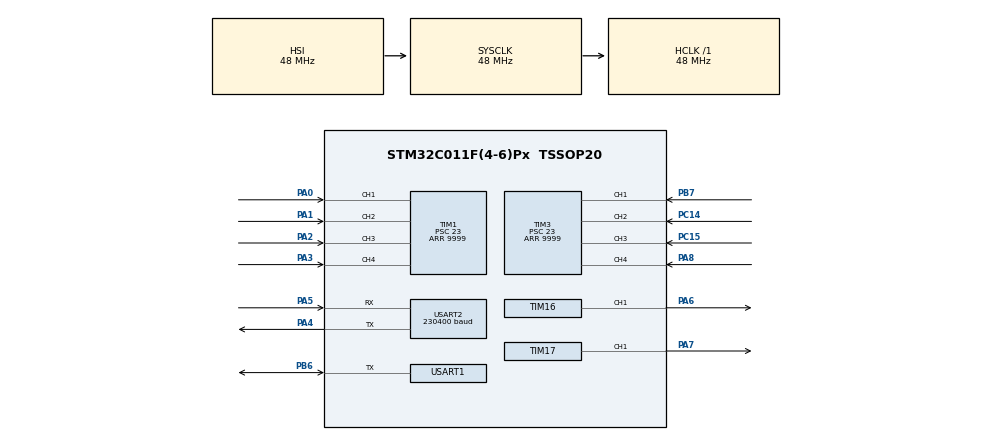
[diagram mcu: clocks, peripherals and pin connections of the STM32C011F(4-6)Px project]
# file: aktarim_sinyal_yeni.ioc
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Mcu.Family=STM32C0
Mcu.Name=STM32C011F(4-6)Px
Mcu.Package=TSSOP20
NVIC.TIM1_BRK_UP_TRG_COM_IRQn=true\:0\:0\:false\:false\:true\:true\:true\:true
NVIC.TIM1_CC_IRQn=true\:0\:0\:false\:false\:true\:true\:true\:true
NVIC.TIM3_IRQn=true\:0\:0\:false\:false\:true\:true\:true\:true
NVIC.USART1_IRQn=true\:0\:0\:false\:false\:true\:true\:true\:true
NVIC.USART2_IRQn=true\:0\:0\:false\:false\:true\:true\:true\:true
PA0.Signal=S_TIM1_CH1
PA1.Signal=S_TIM1_CH2
PA2.Signal=S_TIM1_CH3
PA3.Signal=S_TIM1_CH4
PA4.Mode=Asynchronous
PA4.Signal=USART2_TX
PA5.Mode=Asynchronous
PA5.Signal=USART2_RX
PA6.Signal=S_TIM16_CH1
PA7.Signal=S_TIM17_CH1
PA8.Signal=S_TIM3_CH4
PB6.Mode=Half_duplex(single_wire_mode)
PB6.Signal=USART1_TX
PB7.Signal=S_TIM3_CH1
PC14-OSCX_IN\ (PC14).Signal=S_TIM3_CH2
PC15-OSCX_OUT\ (PC15).Signal=S_TIM3_CH3
ProjectManager.HeapSize=0x200
ProjectManager.StackSize=0x400
ProjectManager.TargetToolchain=STM32CubeIDE
RCC.ADCFreq_Value=48000000
RCC.AHBFreq_Value=48000000
RCC.CortexFreq_Value=48000000
RCC.EXTERNAL_CLOCK_VALUE=12288000
RCC.HCLKFreq_Value=48000000
RCC.HSE_VALUE=8000000
RCC.HSISYSCLKDivider=RCC_HSI_DIV1
RCC.HSI_VALUE=48000000
RCC.LSE_VALUE=32768
RCC.SYSCLKFreq_VALUE=48000000
SH.S_TIM16_CH1.0=TIM16_CH1,PWM Generation1 CH1
SH.S_TIM17_CH1.0=TIM17_CH1,PWM Generation1 CH1
SH.S_TIM1_CH1.0=TIM1_CH1,Input_Capture1_from_TI1
SH.S_TIM1_CH2.0=TIM1_CH2,Input_Capture2_from_TI2
SH.S_TIM1_CH3.0=TIM1_CH3,Input_Capture3_from_TI3
SH.S_TIM1_CH4.0=TIM1_CH4,Input_Capture4_from_TI4
SH.S_TIM3_CH1.0=TIM3_CH1,Input_Capture1_from_TI1
SH.S_TIM3_CH2.0=TIM3_CH2,Input_Capture2_from_TI2
SH.S_TIM3_CH3.0=TIM3_CH3,Input_Capture3_from_TI3
SH.S_TIM3_CH4.0=TIM3_CH4,Input_Capture4_from_TI4
TIM1.AutoReloadPreload=TIM_AUTORELOAD_PRELOAD_ENABLE
TIM1.Channel-Input_Capture1_from_TI1=TIM_CHANNEL_1
TIM1.Channel-Input_Capture2_from_TI2=TIM_CHANNEL_2
TIM1.Channel-Input_Capture3_from_TI3=TIM_CHANNEL_3
TIM1.Channel-Input_Capture4_from_TI4=TIM_CHANNEL_4
TIM1.ICPolarity_CH1=TIM_INPUTCHANNELPOLARITY_BOTHEDGE
TIM1.ICPolarity_CH2=TIM_INPUTCHANNELPOLARITY_BOTHEDGE
TIM1.ICPolarity_CH3=TIM_INPUTCHANNELPOLARITY_BOTHEDGE
TIM1.ICPolarity_CH4=TIM_INPUTCHANNELPOLARITY_BOTHEDGE
TIM1.Period=9999
TIM1.Prescaler=23
TIM16.AutoReloadPreload=TIM_AUTORELOAD_PRELOAD_ENABLE
TIM16.Channel=TIM_CHANNEL_1
TIM16.Period=4095
TIM17.AutoReloadPreload=TIM_AUTORELOAD_PRELOAD_ENABLE
TIM17.Channel=TIM_CHANNEL_1
TIM17.Period=4095
TIM3.AutoReloadPreload=TIM_AUTORELOAD_PRELOAD_ENABLE
TIM3.Channel-Input_Capture1_from_TI1=TIM_CHANNEL_1
TIM3.Channel-Input_Capture2_from_TI2=TIM_CHANNEL_2
TIM3.Channel-Input_Capture3_from_TI3=TIM_CHANNEL_3
TIM3.Channel-Input_Capture4_from_TI4=TIM_CHANNEL_4
TIM3.ICPolarity_CH1=TIM_INPUTCHANNELPOLARITY_BOTHEDGE
TIM3.ICPolarity_CH2=TIM_INPUTCHANNELPOLARITY_BOTHEDGE
TIM3.ICPolarity_CH3=TIM_INPUTCHANNELPOLARITY_BOTHEDGE
TIM3.ICPolarity_CH4=TIM_INPUTCHANNELPOLARITY_BOTHEDGE
TIM3.Period=9999
TIM3.Prescaler=23
USART1.BaudRate=57600
USART1.VirtualMode-Half_duplex(single_wire_mode)=VM_ASYNC
USART2.BaudRate=230400
USART2.VirtualMode-Asynchronous=VM_ASYNC
VP_TIM16_VS_ClockSourceINT.Mode=Enable_Timer
VP_TIM17_VS_ClockSourceINT.Mode=Enable_Timer
board=custom

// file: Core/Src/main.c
/* USER CODE BEGIN Header */
/**
  ******************************************************************************
  * @file           : main.c
  * @brief          : Main program body
  ******************************************************************************
  * @attention
  *
  * Copyright (c) 2024 STMicroelectronics.
  * All rights reserved.
  *
  * This software is licensed under terms that can be found in the LICENSE file
  * in the root directory of this software component.
  * If no LICENSE file comes with this software, it is provided AS-IS.
  *
  ******************************************************************************
  */
/* USER CODE END Header */
#include "main.h"

TIM_HandleTypeDef htim1;
TIM_HandleTypeDef htim3;
TIM_HandleTypeDef htim16;
TIM_HandleTypeDef htim17;

UART_HandleTypeDef huart1;
UART_HandleTypeDef huart2;

/* USER CODE BEGIN PV */
uint16_t pwm_vals[8] = {3000,3000,3000,3000,3000,3000,3000,3000};
uint32_t last_ticks[8];
uint8_t uart_incoming;
uint8_t msg[8];
uint16_t adc_vals[2];
uint8_t uart_tx_buffer[26];
uint16_t n[8];          /*çift  y*/
uint16_t u[8];          /*tek   x*/
uint8_t s[8]={0,0,0,0,0,0,0,0};
uint8_t uart_mode = 1;
/* USER CODE END PV */

void SystemClock_Config(void);
static void MX_GPIO_Init(void);
static void MX_TIM1_Init(void);
static void MX_TIM3_Init(void);
static void MX_TIM16_Init(void);
static void MX_TIM17_Init(void);
static void MX_USART1_UART_Init(void);
static void MX_USART2_UART_Init(void);

int main(void)
{

  /* MCU Configuration--------------------------------------------------------*/

  /* Reset of all peripherals, Initializes the Flash interface and the Systick. */
  HAL_Init();

  /* Configure the system clock */
  SystemClock_Config();

  /* Initialize all configured peripherals */
  MX_GPIO_Init();
  MX_TIM1_Init();
  MX_TIM3_Init();
  MX_TIM16_Init();
  MX_TIM17_Init();
  MX_USART1_UART_Init();
  MX_USART2_UART_Init();
  /* USER CODE BEGIN 2 */
  HAL_TIM_IC_Start_IT(&htim1, TIM_CHANNEL_1);
  HAL_TIM_IC_Start_IT(&htim1, TIM_CHANNEL_2);
  HAL_TIM_IC_Start_IT(&htim1, TIM_CHANNEL_3);
  HAL_TIM_IC_Start_IT(&htim1, TIM_CHANNEL_4);
  HAL_TIM_IC_Start_IT(&htim3, TIM_CHANNEL_1);
  HAL_TIM_IC_Start_IT(&htim3, TIM_CHANNEL_2);
  HAL_TIM_IC_Start_IT(&htim3, TIM_CHANNEL_3);
  HAL_TIM_IC_Start_IT(&htim3, TIM_CHANNEL_4);

  HAL_TIM_PWM_Start(&htim16, TIM_CHANNEL_1);
  HAL_TIM_PWM_Start(&htim17, TIM_CHANNEL_1);
  TIM16 -> CCR1 = 0;
  TIM17 -> CCR1 = 0;

  HAL_HalfDuplex_EnableTransmitter(&huart1);
  /* USER CODE END 2 */

  /* Infinite loop */
  /* USER CODE BEGIN WHILE */
  uint8_t i;
  uint8_t signal_count = 0;
  uint8_t hash = '#';
  uint32_t timeout_tick;
  while (1)
  {
    uart_tx_buffer[0] = '{';
    for(i=0; i<8; i++){
      pwm_vals[i] %= 4096;
      if(HAL_GetTick() > last_ticks[i]+1000){
        pwm_vals[i] = 3000;
      }
      itoa(pwm_vals[i], &uart_tx_buffer[3*i+1], 16);
    }
    uart_tx_buffer[25] = '}';
    if(signal_count >= 5){
      HAL_UART_Transmit(&huart1, &hash, 1, 5);
      HAL_HalfDuplex_EnableReceiver(&huart1);
      HAL_UART_Receive_IT(&huart1, &uart_incoming, 1);
      uart_mode=0;
      timeout_tick = HAL_GetTick() + 25;
      signal_count=0;
      continue;
    }
    //sprintf(uart_tx_buffer, "{%03x%03x%03x%03x%03x%03x%03x%03x}", pwm_vals[0], pwm_vals[1], pwm_vals[2], pwm_vals[3], pwm_vals[4], pwm_vals[5], pwm_vals[6], pwm_vals[7]);

    //while(HAL_UART_GetState(&huart1) != HAL_UART_STATE_READY);
    if(HAL_GetTick() > timeout_tick){
      uart_mode = 1;
      HAL_HalfDuplex_EnableTransmitter(&huart1);
    }
    if(uart_mode){
      HAL_UART_Transmit(&huart1, uart_tx_buffer, 26, 30);
      signal_count++;
    }
    /* USER CODE END WHILE */

  }
}

void SystemClock_Config(void)
{
  RCC_OscInitTypeDef RCC_OscInitStruct = {0};
  RCC_ClkInitTypeDef RCC_ClkInitStruct = {0};

  /** Initializes the RCC Oscillators according to the specified parameters
  * in the RCC_OscInitTypeDef structure.
  */
  RCC_OscInitStruct.OscillatorType = RCC_OSCILLATORTYPE_HSI;
  RCC_OscInitStruct.HSIState = RCC_HSI_ON;
  RCC_OscInitStruct.HSIDiv = RCC_HSI_DIV1;
  RCC_OscInitStruct.HSICalibrationValue = RCC_HSICALIBRATION_DEFAULT;
  if (HAL_RCC_OscConfig(&RCC_OscInitStruct) != HAL_OK)
  {
    Error_Handler();
  }

  /** Initializes the CPU, AHB and APB buses clocks
  */
  RCC_ClkInitStruct.ClockType = RCC_CLOCKTYPE_HCLK|RCC_CLOCKTYPE_SYSCLK
                              |RCC_CLOCKTYPE_PCLK1;
  RCC_ClkInitStruct.SYSCLKSource = RCC_SYSCLKSOURCE_HSI;
  RCC_ClkInitStruct.SYSCLKDivider = RCC_SYSCLK_DIV1;
  RCC_ClkInitStruct.AHBCLKDivider = RCC_HCLK_DIV1;
  RCC_ClkInitStruct.APB1CLKDivider = RCC_APB1_DIV1;

  if (HAL_RCC_ClockConfig(&RCC_ClkInitStruct, FLASH_LATENCY_1) != HAL_OK)
  {
    Error_Handler();
  }
}

static void MX_TIM1_Init(void)
{

  TIM_MasterConfigTypeDef sMasterConfig = {0};
  TIM_IC_InitTypeDef sConfigIC = {0};

  htim1.Instance = TIM1;
  htim1.Init.Prescaler = 23;
  htim1.Init.CounterMode = TIM_COUNTERMODE_UP;
  htim1.Init.Period = 9999;
  htim1.Init.ClockDivision = TIM_CLOCKDIVISION_DIV1;
  htim1.Init.RepetitionCounter = 0;
  htim1.Init.AutoReloadPreload = TIM_AUTORELOAD_PRELOAD_ENABLE;
  if (HAL_TIM_IC_Init(&htim1) != HAL_OK)
  {
    Error_Handler();
  }
  sMasterConfig.MasterOutputTrigger = TIM_TRGO_RESET;
  sMasterConfig.MasterOutputTrigger2 = TIM_TRGO2_RESET;
  sMasterConfig.MasterSlaveMode = TIM_MASTERSLAVEMODE_DISABLE;
  if (HAL_TIMEx_MasterConfigSynchronization(&htim1, &sMasterConfig) != HAL_OK)
  {
    Error_Handler();
  }
  sConfigIC.ICPolarity = TIM_INPUTCHANNELPOLARITY_BOTHEDGE;
  sConfigIC.ICSelection = TIM_ICSELECTION_DIRECTTI;
  sConfigIC.ICPrescaler = TIM_ICPSC_DIV1;
  sConfigIC.ICFilter = 0;
  if (HAL_TIM_IC_ConfigChannel(&htim1, &sConfigIC, TIM_CHANNEL_1) != HAL_OK)
  {
    Error_Handler();
  }
  if (HAL_TIM_IC_ConfigChannel(&htim1, &sConfigIC, TIM_CHANNEL_2) != HAL_OK)
  {
    Error_Handler();
  }
  if (HAL_TIM_IC_ConfigChannel(&htim1, &sConfigIC, TIM_CHANNEL_3) != HAL_OK)
  {
    Error_Handler();
  }
  if (HAL_TIM_IC_ConfigChannel(&htim1, &sConfigIC, TIM_CHANNEL_4) != HAL_OK)
  {
    Error_Handler();
  }

}

static void MX_TIM3_Init(void)
{

  TIM_MasterConfigTypeDef sMasterConfig = {0};
  TIM_IC_InitTypeDef sConfigIC = {0};

  htim3.Instance = TIM3;
  htim3.Init.Prescaler = 23;
  htim3.Init.CounterMode = TIM_COUNTERMODE_UP;
  htim3.Init.Period = 9999;
  htim3.Init.ClockDivision = TIM_CLOCKDIVISION_DIV1;
  htim3.Init.AutoReloadPreload = TIM_AUTORELOAD_PRELOAD_ENABLE;
  if (HAL_TIM_IC_Init(&htim3) != HAL_OK)
  {
    Error_Handler();
  }
  sMasterConfig.MasterOutputTrigger = TIM_TRGO_RESET;
  sMasterConfig.MasterSlaveMode = TIM_MASTERSLAVEMODE_DISABLE;
  if (HAL_TIMEx_MasterConfigSynchronization(&htim3, &sMasterConfig) != HAL_OK)
  {
    Error_Handler();
  }
  sConfigIC.ICPolarity = TIM_INPUTCHANNELPOLARITY_BOTHEDGE;
  sConfigIC.ICSelection = TIM_ICSELECTION_DIRECTTI;
  sConfigIC.ICPrescaler = TIM_ICPSC_DIV1;
  sConfigIC.ICFilter = 0;
  if (HAL_TIM_IC_ConfigChannel(&htim3, &sConfigIC, TIM_CHANNEL_1) != HAL_OK)
  {
    Error_Handler();
  }
  if (HAL_TIM_IC_ConfigChannel(&htim3, &sConfigIC, TIM_CHANNEL_2) != HAL_OK)
  {
    Error_Handler();
  }
  if (HAL_TIM_IC_ConfigChannel(&htim3, &sConfigIC, TIM_CHANNEL_3) != HAL_OK)
  {
    Error_Handler();
  }
  if (HAL_TIM_IC_ConfigChannel(&htim3, &sConfigIC, TIM_CHANNEL_4) != HAL_OK)
  {
    Error_Handler();
  }

}

static void MX_TIM16_Init(void)
{

  TIM_OC_InitTypeDef sConfigOC = {0};
  TIM_BreakDeadTimeConfigTypeDef sBreakDeadTimeConfig = {0};

  htim16.Instance = TIM16;
  htim16.Init.Prescaler = 0;
  htim16.Init.CounterMode = TIM_COUNTERMODE_UP;
  htim16.Init.Period = 4095;
  htim16.Init.ClockDivision = TIM_CLOCKDIVISION_DIV1;
  htim16.Init.RepetitionCounter = 0;
  htim16.Init.AutoReloadPreload = TIM_AUTORELOAD_PRELOAD_ENABLE;
  if (HAL_TIM_Base_Init(&htim16) != HAL_OK)
  {
    Error_Handler();
  }
  if (HAL_TIM_PWM_Init(&htim16) != HAL_OK)
  {
    Error_Handler();
  }
  sConfigOC.OCMode = TIM_OCMODE_PWM1;
  sConfigOC.Pulse = 0;
  sConfigOC.OCPolarity = TIM_OCPOLARITY_HIGH;
  sConfigOC.OCNPolarity = TIM_OCNPOLARITY_HIGH;
  sConfigOC.OCFastMode = TIM_OCFAST_DISABLE;
  sConfigOC.OCIdleState = TIM_OCIDLESTATE_RESET;
  sConfigOC.OCNIdleState = TIM_OCNIDLESTATE_RESET;
  if (HAL_TIM_PWM_ConfigChannel(&htim16, &sConfigOC, TIM_CHANNEL_1) != HAL_OK)
  {
    Error_Handler();
  }
  sBreakDeadTimeConfig.OffStateRunMode = TIM_OSSR_DISABLE;
  sBreakDeadTimeConfig.OffStateIDLEMode = TIM_OSSI_DISABLE;
  sBreakDeadTimeConfig.LockLevel = TIM_LOCKLEVEL_OFF;
  sBreakDeadTimeConfig.DeadTime = 0;
  sBreakDeadTimeConfig.BreakState = TIM_BREAK_DISABLE;
  sBreakDeadTimeConfig.BreakPolarity = TIM_BREAKPOLARITY_HIGH;
  sBreakDeadTimeConfig.BreakFilter = 0;
  sBreakDeadTimeConfig.AutomaticOutput = TIM_AUTOMATICOUTPUT_DISABLE;
  if (HAL_TIMEx_ConfigBreakDeadTime(&htim16, &sBreakDeadTimeConfig) != HAL_OK)
  {
    Error_Handler();
  }
  HAL_TIM_MspPostInit(&htim16);

}

static void MX_TIM17_Init(void)
{

  TIM_OC_InitTypeDef sConfigOC = {0};
  TIM_BreakDeadTimeConfigTypeDef sBreakDeadTimeConfig = {0};

  htim17.Instance = TIM17;
  htim17.Init.Prescaler = 0;
  htim17.Init.CounterMode = TIM_COUNTERMODE_UP;
  htim17.Init.Period = 4095;
  htim17.Init.ClockDivision = TIM_CLOCKDIVISION_DIV1;
  htim17.Init.RepetitionCounter = 0;
  htim17.Init.AutoReloadPreload = TIM_AUTORELOAD_PRELOAD_ENABLE;
  if (HAL_TIM_Base_Init(&htim17) != HAL_OK)
  {
    Error_Handler();
  }
  if (HAL_TIM_PWM_Init(&htim17) != HAL_OK)
  {
    Error_Handler();
  }
  sConfigOC.OCMode = TIM_OCMODE_PWM1;
  sConfigOC.Pulse = 0;
  sConfigOC.OCPolarity = TIM_OCPOLARITY_HIGH;
  sConfigOC.OCNPolarity = TIM_OCNPOLARITY_HIGH;
  sConfigOC.OCFastMode = TIM_OCFAST_DISABLE;
  sConfigOC.OCIdleState = TIM_OCIDLESTATE_RESET;
  sConfigOC.OCNIdleState = TIM_OCNIDLESTATE_RESET;
  if (HAL_TIM_PWM_ConfigChannel(&htim17, &sConfigOC, TIM_CHANNEL_1) != HAL_OK)
  {
    Error_Handler();
  }
  sBreakDeadTimeConfig.OffStateRunMode = TIM_OSSR_DISABLE;
  sBreakDeadTimeConfig.OffStateIDLEMode = TIM_OSSI_DISABLE;
  sBreakDeadTimeConfig.LockLevel = TIM_LOCKLEVEL_OFF;
  sBreakDeadTimeConfig.DeadTime = 0;
  sBreakDeadTimeConfig.BreakState = TIM_BREAK_DISABLE;
  sBreakDeadTimeConfig.BreakPolarity = TIM_BREAKPOLARITY_HIGH;
  sBreakDeadTimeConfig.BreakFilter = 0;
  sBreakDeadTimeConfig.AutomaticOutput = TIM_AUTOMATICOUTPUT_DISABLE;
  if (HAL_TIMEx_ConfigBreakDeadTime(&htim17, &sBreakDeadTimeConfig) != HAL_OK)
  {
    Error_Handler();
  }
  HAL_TIM_MspPostInit(&htim17);

}

static void MX_USART1_UART_Init(void)
{

  huart1.Instance = USART1;
  huart1.Init.BaudRate = 57600;
  huart1.Init.WordLength = UART_WORDLENGTH_8B;
  huart1.Init.StopBits = UART_STOPBITS_1;
  huart1.Init.Parity = UART_PARITY_NONE;
  huart1.Init.Mode = UART_MODE_TX_RX;
  huart1.Init.HwFlowCtl = UART_HWCONTROL_NONE;
  huart1.Init.OverSampling = UART_OVERSAMPLING_16;
  huart1.Init.OneBitSampling = UART_ONE_BIT_SAMPLE_DISABLE;
  huart1.Init.ClockPrescaler = UART_PRESCALER_DIV1;
  huart1.AdvancedInit.AdvFeatureInit = UART_ADVFEATURE_NO_INIT;
  if (HAL_HalfDuplex_Init(&huart1) != HAL_OK)
  {
    Error_Handler();
  }
  if (HAL_UARTEx_SetTxFifoThreshold(&huart1, UART_TXFIFO_THRESHOLD_1_8) != HAL_OK)
  {
    Error_Handler();
  }
  if (HAL_UARTEx_SetRxFifoThreshold(&huart1, UART_RXFIFO_THRESHOLD_1_8) != HAL_OK)
  {
    Error_Handler();
  }
  if (HAL_UARTEx_DisableFifoMode(&huart1) != HAL_OK)
  {
    Error_Handler();
  }

}

static void MX_USART2_UART_Init(void)
{

  huart2.Instance = USART2;
  huart2.Init.BaudRate = 230400;
  huart2.Init.WordLength = UART_WORDLENGTH_8B;
  huart2.Init.StopBits = UART_STOPBITS_1;
  huart2.Init.Parity = UART_PARITY_NONE;
  huart2.Init.Mode = UART_MODE_TX_RX;
  huart2.Init.HwFlowCtl = UART_HWCONTROL_NONE;
  huart2.Init.OverSampling = UART_OVERSAMPLING_16;
  huart2.Init.OneBitSampling = UART_ONE_BIT_SAMPLE_DISABLE;
  huart2.Init.ClockPrescaler = UART_PRESCALER_DIV1;
  huart2.AdvancedInit.AdvFeatureInit = UART_ADVFEATURE_NO_INIT;
  if (HAL_UART_Init(&huart2) != HAL_OK)
  {
    Error_Handler();
  }

}

static void MX_GPIO_Init(void)
{

  /* GPIO Ports Clock Enable */
  __HAL_RCC_GPIOB_CLK_ENABLE();
  __HAL_RCC_GPIOC_CLK_ENABLE();
  __HAL_RCC_GPIOA_CLK_ENABLE();

}

/* USER CODE BEGIN 4 */
void abc(uint8_t i, uint16_t x)
{
  s[i]++;
  s[i]=s[i]%2;
  if(s[i]==0)
  {
    n[i]=x;
    if(n[i]>u[i])
    {
      pwm_vals[i]= n[i]-u[i];
    }
    else
    {
      pwm_vals[i]=(10000-u[i])+n[i];
    }
  }
  else
  {
    u[i]=x;
  }
}

void HAL_TIM_IC_CaptureCallback(TIM_HandleTypeDef *htim){
  if(htim == &htim1){
    if(htim->Channel == HAL_TIM_ACTIVE_CHANNEL_1){
      last_ticks[3] = HAL_GetTick();
      abc(3,HAL_TIM_ReadCapturedValue(htim, TIM_CHANNEL_1)); //ESC4
      HAL_TIM_IC_Start_IT(&htim1, TIM_CHANNEL_1);
    }
    else if(htim->Channel == HAL_TIM_ACTIVE_CHANNEL_2){
      last_ticks[4] = HAL_GetTick();
      abc(4,HAL_TIM_ReadCapturedValue(htim, TIM_CHANNEL_2)); //ESC5
      HAL_TIM_IC_Start_IT(&htim1, TIM_CHANNEL_2);
    }
    else if(htim->Channel == HAL_TIM_ACTIVE_CHANNEL_3){
      last_ticks[5] = HAL_GetTick();
      abc(5,HAL_TIM_ReadCapturedValue(htim, TIM_CHANNEL_3)); //ESC6
      HAL_TIM_IC_Start_IT(&htim1, TIM_CHANNEL_3);
    }
    else if(htim->Channel == HAL_TIM_ACTIVE_CHANNEL_4){
      last_ticks[6] = HAL_GetTick();
      abc(6,HAL_TIM_ReadCapturedValue(htim, TIM_CHANNEL_4)); //ESC7
      HAL_TIM_IC_Start_IT(&htim1, TIM_CHANNEL_4);
    }
  }
  else if(htim == &htim3){
    if(htim->Channel == HAL_TIM_ACTIVE_CHANNEL_1){
      last_ticks[0] = HAL_GetTick();
      abc(0,HAL_TIM_ReadCapturedValue(htim, TIM_CHANNEL_1)); //ESC1
      HAL_TIM_IC_Start_IT(&htim3, TIM_CHANNEL_1);
    }
    else if(htim->Channel == HAL_TIM_ACTIVE_CHANNEL_2){
      last_ticks[1] = HAL_GetTick();
      abc(1,HAL_TIM_ReadCapturedValue(htim, TIM_CHANNEL_2)); //ESC2
      HAL_TIM_IC_Start_IT(&htim3, TIM_CHANNEL_2);
    }
    else if(htim->Channel == HAL_TIM_ACTIVE_CHANNEL_3){
      last_ticks[2] = HAL_GetTick();
      abc(2,HAL_TIM_ReadCapturedValue(htim, TIM_CHANNEL_3)); //ESC3
      HAL_TIM_IC_Start_IT(&htim3, TIM_CHANNEL_3);
    }
    else if(htim->Channel == HAL_TIM_ACTIVE_CHANNEL_4){
      last_ticks[7] = HAL_GetTick();
      abc(7,HAL_TIM_ReadCapturedValue(htim, TIM_CHANNEL_4)); //ESC8
      HAL_TIM_IC_Start_IT(&htim3, TIM_CHANNEL_4);
    }
  }
}

void HAL_UART_RxCpltCallback(UART_HandleTypeDef *huart){
  uint8_t i;
  if(uart_incoming == '['){
    for(i=0; i<8; i++){
      msg[i] = 0;
    }
    msg[0] = '[';
  }
  else if(uart_incoming == ']')
  {
    msg[7] = ']';
    if(!(msg[0]=='[' && msg[7]==']')) return;
    uint8_t temp_str[4];
    for(i=0;i<3;i++){
      temp_str[i] = msg[i+1];
    }
    temp_str[3] = 0;
    adc_vals[0] = strtol(temp_str, NULL, 16);
    for(i=0;i<3;i++){
      temp_str[i] = msg[i+4];
    }
    temp_str[3] = 0;
    adc_vals[1] = strtol(temp_str, NULL, 16);
    TIM16 -> CCR1 = adc_vals[0];
    TIM17 -> CCR2 = adc_vals[1];
    HAL_UART_Transmit_IT(&huart2, msg, 8);
    HAL_HalfDuplex_EnableTransmitter(&huart1);
    uart_mode=1;
  }
  else {
    for(i=7; i>=0; i--){
      if(msg[i] == 0) continue;
      else break;
    }
    i++;
    msg[i] = uart_incoming;
  }
  if(uart_incoming != ']'){
    HAL_UART_Receive_IT(&huart1, &uart_incoming, 1);
  }
}

/* USER CODE END 4 */

void Error_Handler(void)
{
  __disable_irq();
  while (1)
  {
  }
}
